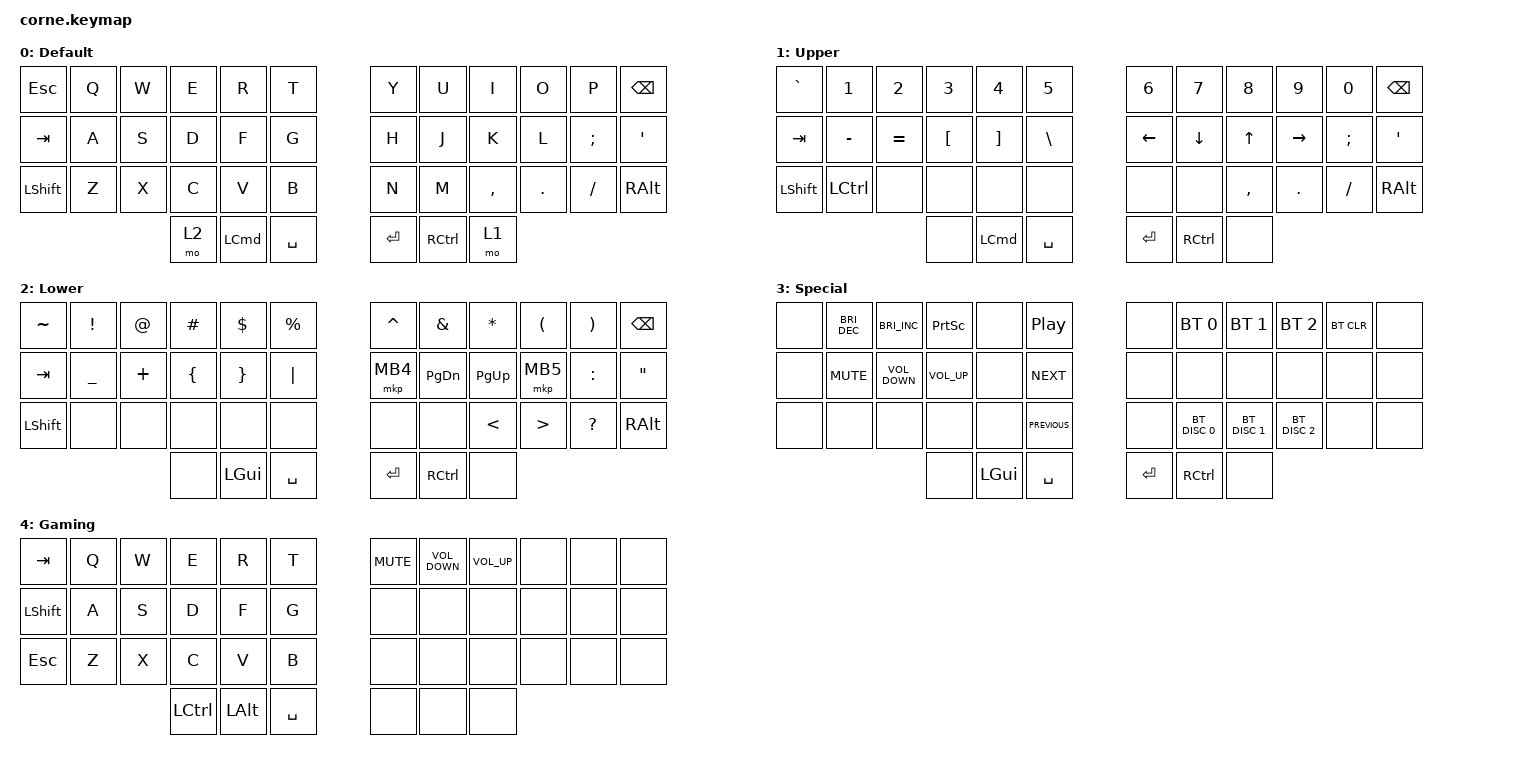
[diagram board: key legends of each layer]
/*
 * Copyright (c) 2020 The ZMK Contributors
 *
 * SPDX-License-Identifier: MIT
 */

#include <behaviors.dtsi>
#include <dt-bindings/zmk/bt.h>
#include <dt-bindings/zmk/keys.h>
#include <dt-bindings/zmk/mouse.h>

/ {
    combos {
        compatible = "zmk,combos";

        gaming {
            bindings = <&tog 4>;
            key-positions = <36 37 38>;
        };

        to_special {
            bindings = <&mo 3>;
            key-positions = <41 36>;
        };
    };

    keymap {
        compatible = "zmk,keymap";

        default_layer {
            display-name = "Default";
            bindings = <
&kp ESC    &kp Q  &kp W  &kp E  &kp R     &kp T        &kp Y      &kp U              &kp I      &kp O    &kp P          &kp BSPC
&kp TAB    &kp A  &kp S  &kp D  &kp F     &kp G        &kp H      &kp J              &kp K      &kp L    &kp SEMICOLON  &kp SINGLE_QUOTE
&kp LSHFT  &kp Z  &kp X  &kp C  &kp V     &kp B        &kp N      &kp M              &kp COMMA  &kp DOT  &kp FSLH       &kp RIGHT_ALT
                         &mo 2  &kp LCMD  &kp SPACE    &kp ENTER  &kp RIGHT_CONTROL  &mo 1
            >;
        };

        upper_layer {
            display-name = "Upper";
            bindings = <
&kp GRAVE  &kp N1     &kp N2     &kp N3    &kp N4            &kp N5       &kp N6     &kp N7             &kp N8     &kp N9      &kp N0         &kp BSPC
&kp TAB    &kp MINUS  &kp EQUAL  &kp LBKT  &kp RBKT          &kp BSLH     &kp LEFT   &kp DOWN           &kp UP     &kp RIGHT   &kp SEMICOLON  &kp SINGLE_QUOTE
&kp LSHFT  &kp LCTRL  &none      &none     &none             &none        &none      &none              &kp COMMA  &kp PERIOD  &kp SLASH      &kp RIGHT_ALT
                                 &none     &kp LEFT_COMMAND  &kp SPACE    &kp ENTER  &kp RIGHT_CONTROL  &none
            >;
        };

        lower_layer {
            bindings = <
&kp TILDE  &kp EXCLAMATION  &kp AT    &kp HASH        &kp DOLLAR       &kp PERCENT    &kp CARET  &kp AMPERSAND  &kp ASTERISK   &kp LEFT_PARENTHESIS  &kp RIGHT_PARENTHESIS  &kp BACKSPACE
&kp TAB    &kp UNDER        &kp PLUS  &kp LEFT_BRACE  &kp RIGHT_BRACE  &kp PIPE       &mkp MB4   &kp PAGE_DOWN  &kp PAGE_UP    &mkp MB5              &kp COLON              &kp DOUBLE_QUOTES
&kp LSHFT  &none            &none     &none           &none            &none          &none      &none          &kp LESS_THAN  &kp GREATER_THAN      &kp QUESTION           &kp RALT
                                      &none           &kp LGUI         &kp SPACE      &kp RET    &kp RCTRL      &none
            >;

            label = "Lower";
        };

        special_layer {
            display-name = "Special";
            bindings = <
&none  &kp C_BRIGHTNESS_DEC  &kp C_BRIGHTNESS_INC  &kp PRINTSCREEN  &none     &kp C_PLAY_PAUSE    &none    &bt BT_SEL 0   &bt BT_SEL 1   &bt BT_SEL 2   &bt BT_CLR  &none
&none  &kp K_MUTE            &kp C_VOLUME_DOWN     &kp C_VOLUME_UP  &none     &kp C_NEXT          &none    &none          &none          &none          &none       &none
&none  &none                 &none                 &none            &none     &kp C_PREVIOUS      &none    &bt BT_DISC 0  &bt BT_DISC 1  &bt BT_DISC 2  &none       &none
                                                   &none            &kp LGUI  &kp SPACE           &kp RET  &kp RCTRL      &none
            >;
        };

        gaming {
            display-name = "Gaming";
            bindings = <
&kp TAB    &kp Q  &kp W  &kp E      &kp R     &kp T        &kp K_MUTE  &kp C_VOLUME_DOWN  &kp C_VOLUME_UP  &none  &none  &none
&kp LSHFT  &kp A  &kp S  &kp D      &kp F     &kp G        &none       &none              &none            &none  &none  &none
&kp ESC    &kp Z  &kp X  &kp C      &kp V     &kp B        &none       &none              &none            &none  &none  &none
                         &kp LCTRL  &kp LALT  &kp SPACE    &none       &none              &none
            >;
        };
    };
};
